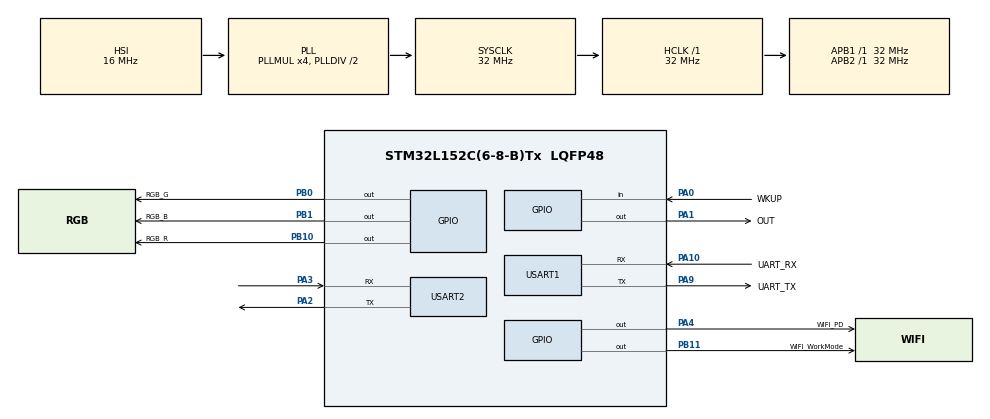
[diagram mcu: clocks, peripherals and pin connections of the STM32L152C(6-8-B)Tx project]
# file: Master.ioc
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Dma.Request0=USART1_RX
Dma.Request1=USART1_TX
Dma.USART1_RX.0.Direction=DMA_PERIPH_TO_MEMORY
Dma.USART1_RX.0.Instance=DMA1_Channel5
Dma.USART1_RX.0.MemDataAlignment=DMA_MDATAALIGN_BYTE
Dma.USART1_RX.0.MemInc=DMA_MINC_ENABLE
Dma.USART1_RX.0.Mode=DMA_NORMAL
Dma.USART1_RX.0.PeriphDataAlignment=DMA_PDATAALIGN_BYTE
Dma.USART1_RX.0.PeriphInc=DMA_PINC_DISABLE
Dma.USART1_RX.0.Priority=DMA_PRIORITY_HIGH
Dma.USART1_TX.1.Direction=DMA_MEMORY_TO_PERIPH
Dma.USART1_TX.1.Instance=DMA1_Channel4
Dma.USART1_TX.1.MemDataAlignment=DMA_MDATAALIGN_BYTE
Dma.USART1_TX.1.MemInc=DMA_MINC_ENABLE
Dma.USART1_TX.1.Mode=DMA_NORMAL
Dma.USART1_TX.1.PeriphDataAlignment=DMA_PDATAALIGN_BYTE
Dma.USART1_TX.1.PeriphInc=DMA_PINC_DISABLE
Dma.USART1_TX.1.Priority=DMA_PRIORITY_MEDIUM
FREERTOS.Tasks01=defaultTask,0,128,StartDefaultTask,Default
Mcu.Family=STM32L1
Mcu.Name=STM32L152C(6-8-B)Tx
Mcu.Package=LQFP48
NVIC.DMA1_Channel4_IRQn=true\:5\:0\:false\:false\:true\:true
NVIC.DMA1_Channel5_IRQn=true\:5\:0\:false\:false\:true\:true
NVIC.FLASH_IRQn=true\:5\:0\:false\:false\:true\:true
NVIC.PriorityGroup=NVIC_PRIORITYGROUP_4
NVIC.TimeBase=TIM2_IRQn
NVIC.TimeBaseIP=TIM2
NVIC.USART1_IRQn=true\:5\:0\:false\:false\:true\:true
PA0-WKUP1.GPIO_Label=WKUP
PA0-WKUP1.Signal=GPIO_Input
PA1.GPIO_Label=OUT
PA1.Signal=GPIO_Output
PA10.GPIO_Label=UART_RX
PA10.Mode=Asynchronous
PA10.Signal=USART1_RX
PA13.Mode=Serial_Wire
PA13.Signal=SYS_JTMS-SWDIO
PA14.Mode=Serial_Wire
PA14.Signal=SYS_JTCK-SWCLK
PA2.Mode=Asynchronous
PA2.Signal=USART2_TX
PA3.Mode=Asynchronous
PA3.Signal=USART2_RX
PA4.GPIO_Label=WIFI_PD
PA4.Signal=GPIO_Output
PA9.GPIO_Label=UART_TX
PA9.Mode=Asynchronous
PA9.Signal=USART1_TX
PB0.GPIO_Label=RGB_G
PB0.Signal=GPIO_Output
PB1.GPIO_Label=RGB_B
PB1.Signal=GPIO_Output
PB10.GPIO_Label=RGB_R
PB10.Signal=GPIO_Output
PB11.GPIO_Label=WIFI_WorkMode
PB11.GPIO_PuPd=GPIO_PULLDOWN
PB11.Signal=GPIO_Output
PB8.GPIO_Label=I2C_SCL
PB8.Signal=I2C1_SCL
PB9.GPIO_Label=I2C_SDA
PB9.Signal=I2C1_SDA
ProjectManager.HeapSize=0x200
ProjectManager.StackSize=0x400
ProjectManager.TargetToolchain=MDK-ARM V5
RCC.AHBFreq_Value=32000000
RCC.APB1Freq_Value=32000000
RCC.APB1TimFreq_Value=32000000
RCC.APB2Freq_Value=32000000
RCC.APB2TimFreq_Value=32000000
RCC.HCLKFreq_Value=32000000
RCC.HSE_VALUE=24000000
RCC.HSI_VALUE=16000000
RCC.LSE_VALUE=32768
RCC.MSIClockRange=RCC_MSIRANGE_6
RCC.MSI_VALUE=4194000
RCC.PLLMUL=RCC_PLL_MUL4
RCC.SYSCLKFreq_VALUE=32000000
RCC.SYSCLKSource=RCC_SYSCLKSOURCE_PLLCLK
RCC.USBOutput=32000000
RCC.VCOOutputFreq_Value=64000000
VP_FREERTOS_VS_ENABLE.Mode=Enabled
VP_SYS_VS_tim2.Mode=TIM2
board=Master

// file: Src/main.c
/**
  ******************************************************************************
  * File Name          : main.c
  * Description        : Main program body
  ******************************************************************************
  *
  * COPYRIGHT(c) 2016 STMicroelectronics
  *
  * Redistribution and use in source and binary forms, with or without modification,
  * are permitted provided that the following conditions are met:
  *   1. Redistributions of source code must retain the above copyright notice,
  *      this list of conditions and the following disclaimer.
  *   2. Redistributions in binary form must reproduce the above copyright notice,
  *      this list of conditions and the following disclaimer in the documentation
  *      and/or other materials provided with the distribution.
  *   3. Neither the name of STMicroelectronics nor the names of its contributors
  *      may be used to endorse or promote products derived from this software
  *      without specific prior written permission.
  *
  * THIS SOFTWARE IS PROVIDED BY THE COPYRIGHT HOLDERS AND CONTRIBUTORS "AS IS"
  * AND ANY EXPRESS OR IMPLIED WARRANTIES, INCLUDING, BUT NOT LIMITED TO, THE
  * IMPLIED WARRANTIES OF MERCHANTABILITY AND FITNESS FOR A PARTICULAR PURPOSE ARE
  * DISCLAIMED. IN NO EVENT SHALL THE COPYRIGHT HOLDER OR CONTRIBUTORS BE LIABLE
  * FOR ANY DIRECT, INDIRECT, INCIDENTAL, SPECIAL, EXEMPLARY, OR CONSEQUENTIAL
  * DAMAGES (INCLUDING, BUT NOT LIMITED TO, PROCUREMENT OF SUBSTITUTE GOODS OR
  * SERVICES; LOSS OF USE, DATA, OR PROFITS; OR BUSINESS INTERRUPTION) HOWEVER
  * CAUSED AND ON ANY THEORY OF LIABILITY, WHETHER IN CONTRACT, STRICT LIABILITY,
  * OR TORT (INCLUDING NEGLIGENCE OR OTHERWISE) ARISING IN ANY WAY OUT OF THE USE
  * OF THIS SOFTWARE, EVEN IF ADVISED OF THE POSSIBILITY OF SUCH DAMAGE.
  *
  ******************************************************************************
  */
#include "stm32l1xx_hal.h"
#include "cmsis_os.h"
#include "dma.h"
#include "usart.h"
#include "gpio.h"

/* USER CODE BEGIN Includes */
#include <string.h>
#include "main.h"
/* USER CODE END Includes */

/* USER CODE BEGIN PV */
/* Private variables ---------------------------------------------------------*/

/* USER CODE END PV */

void SystemClock_Config(void);
void Error_Handler(void);
void MX_FREERTOS_Init(void);

/* USER CODE BEGIN PFP */
/* Private function prototypes -----------------------------------------------*/
#ifdef __GNUC__
#define PUTCHAR_PROTOTYPE int __io_putchar(int ch)
#else
#define PUTCHAR_PROTOTYPE int fputc(int ch, FILE *f)
#endif /* __GNUC__ */
PUTCHAR_PROTOTYPE
{
	HAL_UART_Transmit(&DEBUG_UART , (uint8_t *)&ch, 1, 100);
	return ch;
}

/* USER CODE END PFP */

int main(void)
{

  /* MCU Configuration----------------------------------------------------------*/

  /* Reset of all peripherals, Initializes the Flash interface and the Systick. */
  HAL_Init();

  /* Configure the system clock */
  SystemClock_Config();

  /* Initialize all configured peripherals */
  MX_GPIO_Init();
  MX_DMA_Init();
  MX_USART1_UART_Init();
  MX_USART2_UART_Init();

  /* USER CODE BEGIN 2 */
	HAL_Delay(100);
	HAL_UART_Transmit(&DEBUG_UART, "HelloWorld", 10, 100);
  /* USER CODE END 2 */

  /* Call init function for freertos objects (in freertos.c) */
  MX_FREERTOS_Init();

  /* Start scheduler */
  osKernelStart();

  /* We should never get here as control is now taken by the scheduler */

  /* Infinite loop */
  while (1)
  {

  }

}

/** System Clock Configuration
*/
void SystemClock_Config(void)
{

  RCC_OscInitTypeDef RCC_OscInitStruct;
  RCC_ClkInitTypeDef RCC_ClkInitStruct;

  __HAL_RCC_PWR_CLK_ENABLE();

  __HAL_PWR_VOLTAGESCALING_CONFIG(PWR_REGULATOR_VOLTAGE_SCALE1);

  RCC_OscInitStruct.OscillatorType = RCC_OSCILLATORTYPE_HSI;
  RCC_OscInitStruct.HSIState = RCC_HSI_ON;
  RCC_OscInitStruct.HSICalibrationValue = 16;
  RCC_OscInitStruct.PLL.PLLState = RCC_PLL_ON;
  RCC_OscInitStruct.PLL.PLLSource = RCC_PLLSOURCE_HSI;
  RCC_OscInitStruct.PLL.PLLMUL = RCC_PLL_MUL4;
  RCC_OscInitStruct.PLL.PLLDIV = RCC_PLL_DIV2;
  if (HAL_RCC_OscConfig(&RCC_OscInitStruct) != HAL_OK)
  {
    Error_Handler();
  }

  RCC_ClkInitStruct.ClockType = RCC_CLOCKTYPE_HCLK|RCC_CLOCKTYPE_SYSCLK
                              |RCC_CLOCKTYPE_PCLK1|RCC_CLOCKTYPE_PCLK2;
  RCC_ClkInitStruct.SYSCLKSource = RCC_SYSCLKSOURCE_PLLCLK;
  RCC_ClkInitStruct.AHBCLKDivider = RCC_SYSCLK_DIV1;
  RCC_ClkInitStruct.APB1CLKDivider = RCC_HCLK_DIV1;
  RCC_ClkInitStruct.APB2CLKDivider = RCC_HCLK_DIV1;
  if (HAL_RCC_ClockConfig(&RCC_ClkInitStruct, FLASH_LATENCY_1) != HAL_OK)
  {
    Error_Handler();
  }

  HAL_SYSTICK_Config(HAL_RCC_GetHCLKFreq()/1000);

  HAL_SYSTICK_CLKSourceConfig(SYSTICK_CLKSOURCE_HCLK);

  /* SysTick_IRQn interrupt configuration */
  HAL_NVIC_SetPriority(SysTick_IRQn, 15, 0);
}

void HAL_TIM_PeriodElapsedCallback(TIM_HandleTypeDef *htim)
{
  if (htim->Instance == TIM2) {
    HAL_IncTick();
  }
}

void Error_Handler(void)
{
  while(1)
  {
  }
}

/************************ (C) COPYRIGHT STMicroelectronics *****END OF FILE****/

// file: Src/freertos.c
/**
  ******************************************************************************
  * File Name          : freertos.c
  * Description        : Code for freertos applications
  ******************************************************************************
  *
  * COPYRIGHT(c) 2016 STMicroelectronics
  *
  * Redistribution and use in source and binary forms, with or without modification,
  * are permitted provided that the following conditions are met:
  *   1. Redistributions of source code must retain the above copyright notice,
  *      this list of conditions and the following disclaimer.
  *   2. Redistributions in binary form must reproduce the above copyright notice,
  *      this list of conditions and the following disclaimer in the documentation
  *      and/or other materials provided with the distribution.
  *   3. Neither the name of STMicroelectronics nor the names of its contributors
  *      may be used to endorse or promote products derived from this software
  *      without specific prior written permission.
  *
  * THIS SOFTWARE IS PROVIDED BY THE COPYRIGHT HOLDERS AND CONTRIBUTORS "AS IS"
  * AND ANY EXPRESS OR IMPLIED WARRANTIES, INCLUDING, BUT NOT LIMITED TO, THE
  * IMPLIED WARRANTIES OF MERCHANTABILITY AND FITNESS FOR A PARTICULAR PURPOSE ARE
  * DISCLAIMED. IN NO EVENT SHALL THE COPYRIGHT HOLDER OR CONTRIBUTORS BE LIABLE
  * FOR ANY DIRECT, INDIRECT, INCIDENTAL, SPECIAL, EXEMPLARY, OR CONSEQUENTIAL
  * DAMAGES (INCLUDING, BUT NOT LIMITED TO, PROCUREMENT OF SUBSTITUTE GOODS OR
  * SERVICES; LOSS OF USE, DATA, OR PROFITS; OR BUSINESS INTERRUPTION) HOWEVER
  * CAUSED AND ON ANY THEORY OF LIABILITY, WHETHER IN CONTRACT, STRICT LIABILITY,
  * OR TORT (INCLUDING NEGLIGENCE OR OTHERWISE) ARISING IN ANY WAY OUT OF THE USE
  * OF THIS SOFTWARE, EVEN IF ADVISED OF THE POSSIBILITY OF SUCH DAMAGE.
  *
  ******************************************************************************
  */

#include "FreeRTOS.h"
#include "task.h"
#include "cmsis_os.h"

/* USER CODE BEGIN Includes */
#include "cTask.h"
/* USER CODE END Includes */

osThreadId defaultTaskHandle;

void StartDefaultTask(void const * argument);

void MX_FREERTOS_Init(void); /* (MISRA C 2004 rule 8.1) */

/* Hook prototypes */

/* Init FreeRTOS */

void MX_FREERTOS_Init(void) {
  /* USER CODE BEGIN Init */
  cTask_Init();
  /* USER CODE END Init */

  /* Create the thread(s) */
  /* definition and creation of defaultTask */
  osThreadDef(defaultTask, StartDefaultTask, osPriorityNormal, 0, 128);
  defaultTaskHandle = osThreadCreate(osThread(defaultTask), NULL);

  /* USER CODE BEGIN RTOS_THREADS */
  /* add threads, ... */
	cTask_List();
  /* USER CODE END RTOS_THREADS */

}

/* StartDefaultTask function */
void StartDefaultTask(void const * argument)
{

  /* USER CODE BEGIN StartDefaultTask */
  /* Infinite loop */
  for(;;)
  {
		osDelay(1000);

  }
  /* USER CODE END StartDefaultTask */
}

/************************ (C) COPYRIGHT STMicroelectronics *****END OF FILE****/
